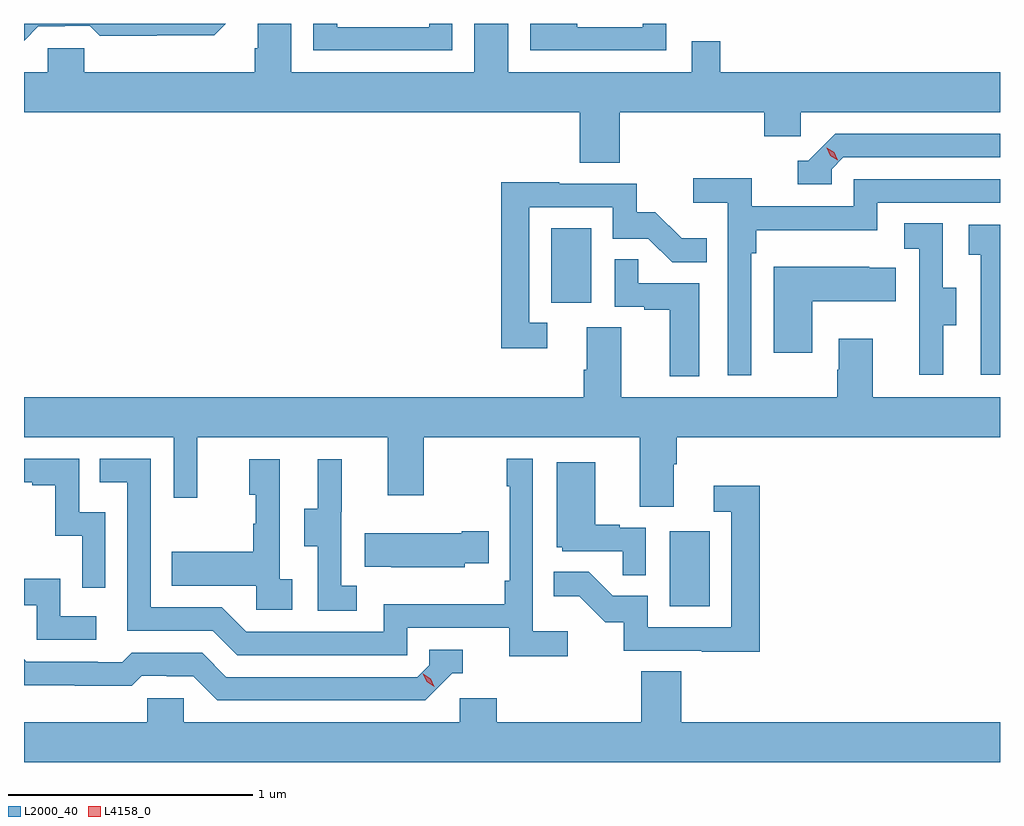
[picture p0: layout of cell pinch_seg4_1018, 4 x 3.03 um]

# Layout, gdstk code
import gdstk
lib = gdstk.Library(unit=1e-6, precision=1e-09)
def R(c, l, rs):  # rectangles x0, y0, x1, y1
    for r in rs: c.add(gdstk.rectangle(r[:2], r[2:], *l))
def P(c, l, *ps):  # polygons
    for p in ps: c.add(gdstk.Polygon(p, *l))
L2000_40 = (2000, 40)
L4158_0 = (4158, 0)

pinch_seg4_1018 = lib.new_cell('pinch_seg4_1018')
R(pinch_seg4_1018, L2000_40, [(818.93,754.836,819.094,755.143), (818.444,756.078,818.608,756.385)])
P(pinch_seg4_1018, L2000_40, [(818.916,757.222),(818.82,757.222),(818.82,757.209),(818.551,757.209),(818.551,757.222),(818.358,757.222),(818.358,757.113),(818.916,757.113)],
  [(816.381,757.122),(816.381,757.024),(816.284,757.024),(816.284,756.86),(818.561,756.86),(818.561,756.652),(818.726,756.652),(818.726,756.86),(819.317,756.86),(819.317,756.762),(819.468,756.762),(819.468,756.86),(820.284,756.86),(820.284,757.024),(819.137,757.024),(819.137,757.151),(819.021,757.151),(819.021,757.024),(818.269,757.024),(818.269,757.222),(818.13,757.222),(818.13,757.024),(817.38,757.024),(817.38,757.222),(817.243,757.222),(817.243,757.122),(817.229,757.122),(817.229,757.024),(816.531,757.024),(816.531,757.122)],
  [(818.04,757.222),(817.944,757.222),(817.944,757.209),(817.567,757.209),(817.567,757.222),(817.47,757.222),(817.47,757.113),(818.04,757.113)],
  [(816.343,757.212),(816.45,757.212),(816.45,757.215),(816.553,757.215),(816.595,757.173),(816.828,757.173),(816.828,757.175),(817.064,757.175),(817.111,757.222),(816.284,757.222),(816.284,757.153)],
  [(819.594,756.627),(819.642,756.675),(820.284,756.675),(820.284,756.771),(819.609,756.771),(819.498,756.66),(819.455,756.66),(819.455,756.564),(819.594,756.564)],
  [(819.264,756.281),(819.284,756.281),(819.284,756.377),(819.78,756.377),(819.78,756.489),(820.284,756.489),(820.284,756.585),(819.684,756.585),(819.684,756.474),(819.266,756.474),(819.266,756.59),(819.027,756.59),(819.027,756.488),(819.168,756.488),(819.168,755.781),(819.264,755.781)],
  [(818.428,755.997),(818.355,755.997),(818.355,756.471),(818.697,756.471),(818.697,756.342),(818.842,756.342),(818.94,756.244),(819.083,756.244),(819.083,756.343),(818.979,756.343),(818.872,756.45),(818.796,756.45),(818.796,756.567),(818.477,756.567),(818.477,756.572),(818.239,756.572),(818.239,755.892),(818.428,755.892)],
  [(820.051,755.986),(820.105,755.986),(820.105,756.141),(820.05,756.141),(820.05,756.404),(819.891,756.404),(819.891,756.301),(819.954,756.301),(819.954,755.997),(819.953,755.997),(819.953,755.784),(820.051,755.784)],
  [(820.284,756.399),(820.155,756.399),(820.155,756.275),(820.206,756.275),(820.206,755.784),(820.284,755.784)],
  [(819.052,756.159),(818.801,756.159),(818.801,756.257),(818.706,756.257),(818.706,756.063),(818.827,756.063),(818.827,756.051),(818.93,756.051),(818.93,755.777),(819.052,755.777)],
  [(819.514,756.086),(819.857,756.086),(819.857,756.223),(819.749,756.223),(819.749,756.226),(819.356,756.226),(819.356,755.874),(819.514,755.874)],
  [(818.731,755.978),(818.591,755.978),(818.591,755.804),(818.579,755.804),(818.579,755.692),(816.284,755.692),(816.284,755.528),(816.897,755.528),(816.897,755.28),(816.995,755.28),(816.995,755.528),(817.775,755.528),(817.775,755.289),(817.923,755.289),(817.923,755.528),(818.807,755.528),(818.807,755.242),(818.947,755.242),(818.947,755.416),(818.96,755.416),(818.96,755.528),(820.284,755.528),(820.284,755.692),(819.763,755.692),(819.763,755.932),(819.623,755.932),(819.623,755.804),(819.616,755.804),(819.616,755.692),(818.731,755.692)],
  [(818.512,754.732),(818.37,754.732),(818.37,755.44),(818.262,755.44),(818.262,755.327),(818.274,755.327),(818.274,754.939),(818.254,754.939),(818.254,754.843),(817.758,754.843),(817.758,754.731),(817.194,754.731),(817.095,754.83),(816.804,754.83),(816.804,755.439),(816.595,755.439),(816.595,755.343),(816.708,755.343),(816.708,754.734),(817.058,754.734),(817.157,754.635),(817.854,754.635),(817.854,754.746),(818.273,754.746),(818.273,754.63),(818.512,754.63)],
  [(816.618,755.22),(816.51,755.22),(816.51,755.439),(816.284,755.439),(816.284,755.343),(816.317,755.343),(816.317,755.331),(816.413,755.331),(816.413,755.123),(816.522,755.123),(816.522,754.911),(816.618,754.911)],
  [(817.648,754.919),(817.584,754.919),(817.584,755.223),(817.586,755.223),(817.586,755.437),(817.487,755.437),(817.487,755.235),(817.433,755.235),(817.433,755.08),(817.488,755.08),(817.488,754.816),(817.648,754.816)],
  [(817.384,754.946),(817.332,754.946),(817.332,755.437),(817.208,755.437),(817.208,755.292),(817.234,755.292),(817.234,755.174),(817.224,755.174),(817.224,755.059),(816.889,755.059),(816.889,754.919),(817.236,754.919),(817.236,754.821),(817.384,754.821)],
  [(818.832,755.157),(818.726,755.157),(818.726,755.17),(818.626,755.17),(818.626,755.425),(818.468,755.425),(818.468,755.076),(818.49,755.076),(818.49,755.061),(818.737,755.061),(818.737,754.963),(818.832,754.963)],
  [(819.299,755.329),(819.111,755.329),(819.111,755.223),(819.183,755.223),(819.183,754.749),(818.841,754.749),(818.841,754.878),(818.697,754.878),(818.599,754.976),(818.455,754.976),(818.455,754.877),(818.559,754.877),(818.666,754.77),(818.743,754.77),(818.743,754.653),(819.061,754.653),(819.061,754.648),(819.299,754.648)],
  [(818.091,755.012),(818.189,755.012),(818.189,755.142),(818.078,755.142),(818.078,755.134),(817.681,755.134),(817.681,754.997),(817.789,754.997),(817.789,754.994),(818.091,754.994)],
  [(816.58,754.794),(816.432,754.794),(816.432,754.948),(816.284,754.948),(816.284,754.839),(816.336,754.839),(816.336,754.698),(816.58,754.698)],
  [(818.04,754.56),(818.083,754.56),(818.083,754.656),(817.944,754.656),(817.944,754.593),(817.896,754.545),(817.113,754.545),(817.014,754.644),(816.725,754.644),(816.686,754.605),(816.587,754.605),(816.587,754.608),(816.294,754.608),(816.284,754.618),(816.284,754.511),(816.492,754.511),(816.492,754.509),(816.725,754.509),(816.767,754.551),(816.87,754.551),(816.87,754.548),(816.977,754.548),(817.076,754.449),(817.929,754.449)],
  [(820.284,754.36),(818.978,754.36),(818.978,754.568),(818.813,754.568),(818.813,754.36),(818.222,754.36),(818.222,754.458),(818.07,754.458),(818.07,754.36),(816.939,754.36),(816.939,754.458),(816.789,754.458),(816.789,754.36),(816.284,754.36),(816.284,754.196),(820.284,754.196)])
P(pinch_seg4_1018, L4158_0, [(817.965,754.505),(817.935,754.525),(817.919,754.558),(817.919,754.558),(817.92,754.558),(817.95,754.538),(817.965,754.505),(817.965,754.505)],
  [(819.619,756.662),(819.588,756.682),(819.573,756.714),(819.573,756.715),(819.573,756.715),(819.604,756.695),(819.619,756.662),(819.619,756.662)])

lib.write_gds('pinch_seg4_1018.gds')
